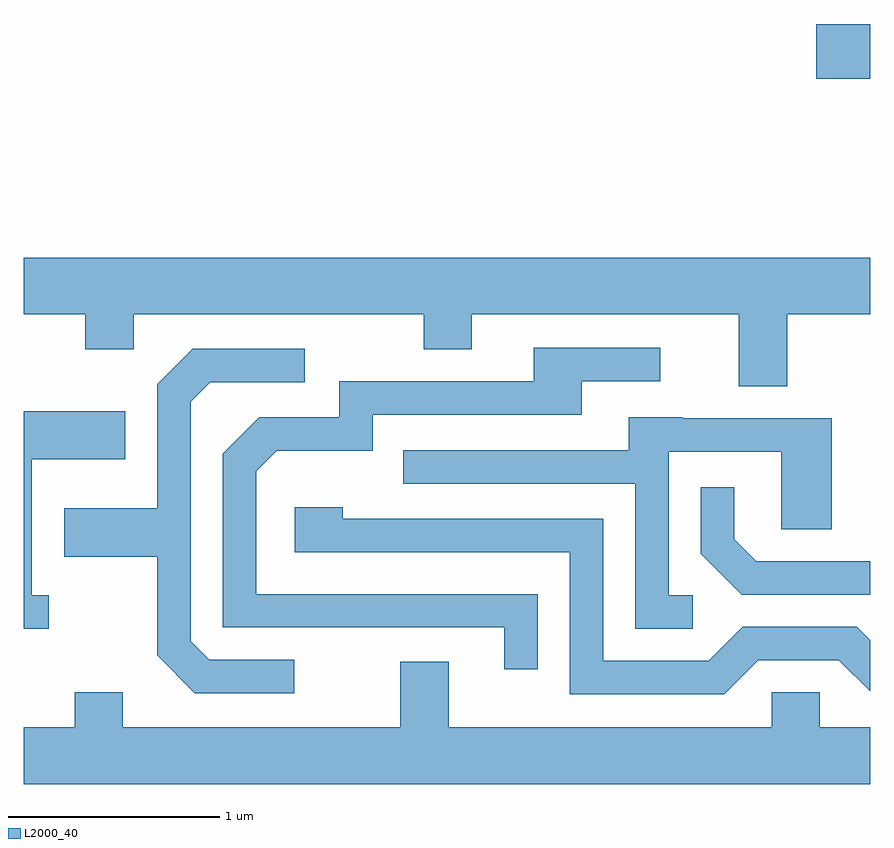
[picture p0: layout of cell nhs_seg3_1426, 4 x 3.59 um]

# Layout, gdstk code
import gdstk
lib = gdstk.Library(unit=1e-6, precision=1e-09)
def R(c, l, rs):  # rectangles x0, y0, x1, y1
    for r in rs: c.add(gdstk.rectangle(r[:2], r[2:], *l))
def P(c, l, *ps):  # polygons
    for p in ps: c.add(gdstk.Polygon(p, *l))
L2000_40 = (2000, 40)

nhs_seg3_1426 = lib.new_cell('nhs_seg3_1426')
R(nhs_seg3_1426, L2000_40, [(229.356,1251.451,229.611,1251.709)])
P(nhs_seg3_1426, L2000_40, [(229.219,1250.336),(229.611,1250.336),(229.611,1250.604),(225.611,1250.604),(225.611,1250.336),(225.901,1250.336),(225.901,1250.171),(226.129,1250.171),(226.129,1250.336),(227.501,1250.336),(227.501,1250.171),(227.729,1250.171),(227.729,1250.336),(228.991,1250.336),(228.991,1249.996),(229.219,1249.996)],
  [(228.039,1249.014),(226.709,1249.014),(226.709,1249.594),(226.807,1249.691),(227.259,1249.691),(227.259,1249.861),(228.249,1249.861),(228.249,1250.021),(228.618,1250.021),(228.618,1250.179),(228.021,1250.179),(228.021,1250.019),(227.101,1250.019),(227.101,1249.849),(226.724,1249.849),(226.551,1249.677),(226.551,1248.856),(227.881,1248.856),(227.881,1248.658),(228.039,1248.658)],
  [(226.888,1248.704),(226.487,1248.704),(226.399,1248.792),(226.399,1249.924),(226.492,1250.016),(226.938,1250.016),(226.938,1250.174),(226.409,1250.174),(226.241,1250.007),(226.241,1249.419),(225.801,1249.419),(225.801,1249.191),(226.241,1249.191),(226.241,1248.724),(226.419,1248.546),(226.888,1248.546)],
  [(225.728,1249.009),(225.649,1249.009),(225.649,1249.651),(226.089,1249.651),(226.089,1249.879),(225.611,1249.879),(225.611,1248.851),(225.728,1248.851)],
  [(228.773,1249.009),(228.659,1249.009),(228.659,1249.686),(229.191,1249.686),(229.191,1249.321),(229.429,1249.321),(229.429,1249.844),(228.725,1249.844),(228.725,1249.849),(228.471,1249.849),(228.471,1249.694),(227.403,1249.694),(227.403,1249.536),(228.501,1249.536),(228.501,1248.851),(228.773,1248.851)],
  [(229.611,1249.169),(229.072,1249.169),(228.969,1249.272),(228.969,1249.518),(228.811,1249.518),(228.811,1249.204),(229.004,1249.011),(229.611,1249.011)],
  [(229.082,1248.701),(229.464,1248.701),(229.611,1248.554),(229.611,1248.795),(229.547,1248.859),(229.009,1248.859),(228.849,1248.699),(228.349,1248.699),(228.349,1249.369),(227.119,1249.369),(227.119,1249.424),(226.891,1249.424),(226.891,1249.211),(228.191,1249.211),(228.191,1248.541),(228.922,1248.541)],
  [(229.611,1248.384),(229.374,1248.384),(229.374,1248.549),(229.146,1248.549),(229.146,1248.384),(227.619,1248.384),(227.619,1248.694),(227.391,1248.694),(227.391,1248.384),(226.079,1248.384),(226.079,1248.549),(225.851,1248.549),(225.851,1248.384),(225.611,1248.384),(225.611,1248.116),(229.611,1248.116)])

lib.write_gds('nhs_seg3_1426.gds')
